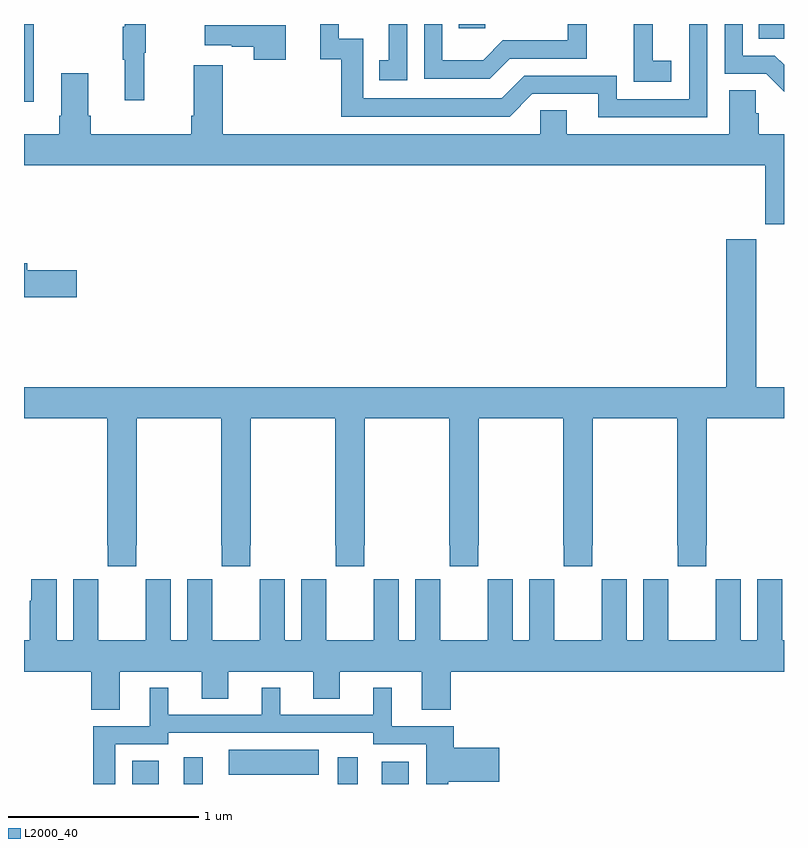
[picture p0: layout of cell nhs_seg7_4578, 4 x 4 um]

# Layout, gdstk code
import gdstk
lib = gdstk.Library(unit=1e-6, precision=1e-09)
def R(c, l, rs):  # rectangles x0, y0, x1, y1
    for r in rs: c.add(gdstk.rectangle(r[:2], r[2:], *l))
def P(c, l, *ps):  # polygons
    for p in ps: c.add(gdstk.Polygon(p, *l))
L2000_40 = (2000, 40)

nhs_seg7_4578 = lib.new_cell('nhs_seg7_4578')
R(nhs_seg7_4578, L2000_40, [(399.569,1024,399.709,1024.123), (399.842,1024,399.94,1024.141), (400.652,1024,400.756,1024.141), (400.883,1024,401.026,1024.117), (400.077,1024.049,400.552,1024.18), (399,1027.59,399.052,1028), (402.868,1027.922,403,1028), (401.287,1027.977,401.427,1028)])
P(nhs_seg7_4578, L2000_40, [(403,1027.785),(402.952,1027.833),(402.783,1027.833),(402.783,1028),(402.687,1028),(402.687,1027.737),(402.906,1027.737),(403,1027.644)],
  [(402.597,1028),(402.501,1028),(402.501,1027.605),(402.12,1027.605),(402.12,1027.728),(401.634,1027.728),(401.514,1027.608),(400.785,1027.608),(400.785,1027.923),(400.656,1027.923),(400.656,1028),(400.559,1028),(400.559,1027.815),(400.669,1027.815),(400.669,1027.512),(401.556,1027.512),(401.676,1027.632),(402.023,1027.632),(402.023,1027.509),(402.597,1027.509)],
  [(399.632,1027.848),(399.64,1027.848),(399.64,1028),(399.53,1028),(399.53,1027.985),(399.519,1027.985),(399.519,1027.811),(399.53,1027.811),(399.53,1027.599),(399.632,1027.599)],
  [(402.406,1027.807),(402.308,1027.807),(402.308,1028),(402.209,1028),(402.209,1027.903),(402.208,1027.903),(402.208,1027.697),(402.406,1027.697)],
  [(401.016,1028),(400.919,1028),(400.919,1027.809),(400.87,1027.809),(400.87,1027.704),(401.016,1027.704)],
  [(401.557,1027.818),(401.961,1027.818),(401.961,1028),(401.862,1028),(401.862,1027.914),(401.52,1027.914),(401.416,1027.81),(401.202,1027.81),(401.202,1028),(401.106,1028),(401.106,1027.713),(401.452,1027.713)],
  [(400.378,1027.993),(399.951,1027.993),(399.951,1027.889),(400.094,1027.889),(400.094,1027.879),(400.208,1027.879),(400.208,1027.812),(400.378,1027.812)],
  [(403,1027.42),(402.866,1027.42),(402.866,1027.529),(402.852,1027.529),(402.852,1027.652),(402.713,1027.652),(402.713,1027.42),(401.857,1027.42),(401.857,1027.547),(401.718,1027.547),(401.718,1027.42),(400.046,1027.42),(400.046,1027.783),(399.893,1027.783),(399.893,1027.516),(399.881,1027.516),(399.881,1027.42),(399.35,1027.42),(399.35,1027.516),(399.337,1027.516),(399.337,1027.741),(399.197,1027.741),(399.197,1027.516),(399.185,1027.516),(399.185,1027.42),(399,1027.42),(399,1027.256),(402.902,1027.256),(402.902,1026.947),(403,1026.947)],
  [(399,1025.924),(399.439,1025.924),(399.439,1025.257),(399.441,1025.257),(399.441,1025.145),(399.591,1025.145),(399.591,1025.257),(399.594,1025.257),(399.594,1025.924),(400.039,1025.924),(400.039,1025.257),(400.041,1025.257),(400.041,1025.145),(400.191,1025.145),(400.191,1025.257),(400.194,1025.257),(400.194,1025.924),(400.639,1025.924),(400.639,1025.257),(400.641,1025.257),(400.641,1025.145),(400.791,1025.145),(400.791,1025.257),(400.794,1025.257),(400.794,1025.924),(401.239,1025.924),(401.239,1025.257),(401.241,1025.257),(401.241,1025.145),(401.391,1025.145),(401.391,1025.257),(401.394,1025.257),(401.394,1025.924),(401.839,1025.924),(401.839,1025.257),(401.841,1025.257),(401.841,1025.145),(401.991,1025.145),(401.991,1025.257),(401.994,1025.257),(401.994,1025.924),(402.439,1025.924),(402.439,1025.257),(402.441,1025.257),(402.441,1025.145),(402.591,1025.145),(402.591,1025.257),(402.594,1025.257),(402.594,1025.924),(403,1025.924),(403,1026.088),(402.855,1026.088),(402.855,1026.868),(402.695,1026.868),(402.695,1026.088),(399,1026.088)],
  [(399.277,1026.704),(399.016,1026.704),(399.016,1026.74),(399,1026.74),(399,1026.562),(399.277,1026.562)],
  [(399.86,1024.756),(399.772,1024.756),(399.772,1025.077),(399.642,1025.077),(399.642,1024.964),(399.641,1024.964),(399.641,1024.756),(399.391,1024.756),(399.391,1024.964),(399.39,1024.964),(399.39,1025.077),(399.26,1025.077),(399.26,1024.756),(399.172,1024.756),(399.172,1025.077),(399.038,1025.077),(399.038,1024.964),(399.029,1024.964),(399.029,1024.756),(399,1024.756),(399,1024.592),(399.353,1024.592),(399.353,1024.39),(399.505,1024.39),(399.505,1024.592),(399.935,1024.592),(399.935,1024.45),(400.075,1024.45),(400.075,1024.592),(400.523,1024.592),(400.523,1024.45),(400.663,1024.45),(400.663,1024.592),(401.093,1024.592),(401.093,1024.39),(401.246,1024.39),(401.246,1024.592),(403,1024.592),(403,1024.756),(402.991,1024.756),(402.991,1024.964),(402.99,1024.964),(402.99,1025.077),(402.86,1025.077),(402.86,1024.756),(402.772,1024.756),(402.772,1025.077),(402.642,1025.077),(402.642,1024.964),(402.641,1024.964),(402.641,1024.756),(402.391,1024.756),(402.391,1024.964),(402.39,1024.964),(402.39,1025.077),(402.26,1025.077),(402.26,1024.756),(402.172,1024.756),(402.172,1025.077),(402.042,1025.077),(402.042,1024.964),(402.041,1024.964),(402.041,1024.756),(401.791,1024.756),(401.791,1024.964),(401.79,1024.964),(401.79,1025.077),(401.66,1025.077),(401.66,1024.756),(401.572,1024.756),(401.572,1025.077),(401.442,1025.077),(401.442,1024.964),(401.441,1024.964),(401.441,1024.756),(401.191,1024.756),(401.191,1024.964),(401.19,1024.964),(401.19,1025.077),(401.06,1025.077),(401.06,1024.756),(400.972,1024.756),(400.972,1025.077),(400.842,1025.077),(400.842,1024.964),(400.841,1024.964),(400.841,1024.756),(400.591,1024.756),(400.591,1024.964),(400.59,1024.964),(400.59,1025.077),(400.46,1025.077),(400.46,1024.756),(400.372,1024.756),(400.372,1025.077),(400.242,1025.077),(400.242,1024.964),(400.241,1024.964),(400.241,1024.756),(399.991,1024.756),(399.991,1024.964),(399.99,1024.964),(399.99,1025.077),(399.86,1025.077)],
  [(399.48,1024.209),(399.759,1024.209),(399.759,1024.269),(400.839,1024.269),(400.839,1024.209),(401.118,1024.209),(401.118,1024),(401.234,1024),(401.234,1024.013),(401.5,1024.013),(401.5,1024.191),(401.261,1024.191),(401.261,1024.305),(400.936,1024.305),(400.936,1024.507),(400.838,1024.507),(400.838,1024.365),(400.348,1024.365),(400.348,1024.507),(400.25,1024.507),(400.25,1024.365),(399.76,1024.365),(399.76,1024.507),(399.662,1024.507),(399.662,1024.305),(399.364,1024.305),(399.364,1024),(399.48,1024)])

lib.write_gds('nhs_seg7_4578.gds')
